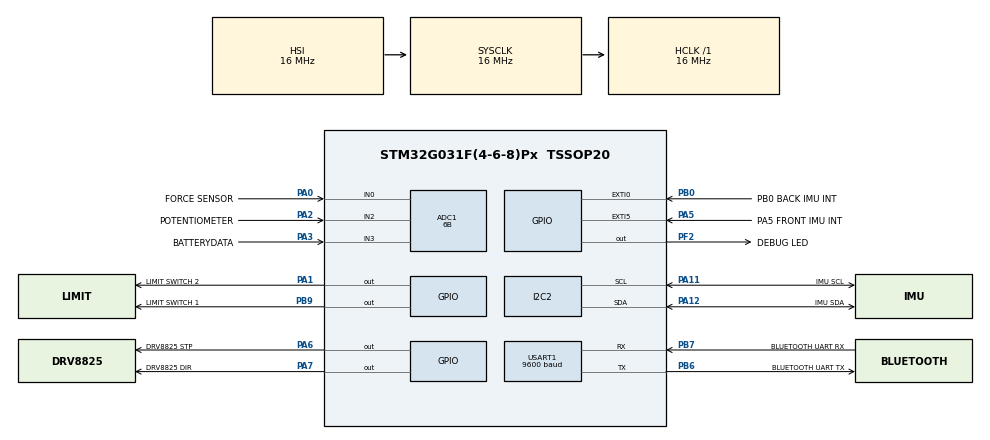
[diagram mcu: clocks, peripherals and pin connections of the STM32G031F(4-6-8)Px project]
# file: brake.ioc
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ADC1.Channel-0\#ChannelRegularConversion=ADC_CHANNEL_0
ADC1.Channel-1\#ChannelRegularConversion=ADC_CHANNEL_2
ADC1.Channel-2\#ChannelRegularConversion=ADC_CHANNEL_3
ADC1.ContinuousConvMode=DISABLE
ADC1.DMAContinuousRequests=DISABLE
ADC1.DiscontinuousConvMode=ENABLE
ADC1.ExternalTrigConv=ADC_SOFTWARE_START
ADC1.NbrOfConversion=3
ADC1.NbrOfConversionFlag=1
ADC1.Rank-0\#ChannelRegularConversion=1
ADC1.Rank-1\#ChannelRegularConversion=2
ADC1.Rank-2\#ChannelRegularConversion=3
ADC1.Resolution=ADC_RESOLUTION_6B
ADC1.SamplingTime-0\#ChannelRegularConversion=ADC_SAMPLINGTIME_COMMON_1
ADC1.SamplingTime-1\#ChannelRegularConversion=ADC_SAMPLINGTIME_COMMON_1
ADC1.SamplingTime-2\#ChannelRegularConversion=ADC_SAMPLINGTIME_COMMON_1
ADC1.SelectedChannel=ADC_CHANNEL_0|ADC_CHANNEL_2|ADC_CHANNEL_3
ADC1.master=1
Dma.ADC1.0.Direction=DMA_PERIPH_TO_MEMORY
Dma.ADC1.0.EventEnable=DISABLE
Dma.ADC1.0.Instance=DMA1_Channel1
Dma.ADC1.0.MemDataAlignment=DMA_MDATAALIGN_HALFWORD
Dma.ADC1.0.MemInc=DMA_MINC_ENABLE
Dma.ADC1.0.Mode=DMA_CIRCULAR
Dma.ADC1.0.PeriphDataAlignment=DMA_PDATAALIGN_HALFWORD
Dma.ADC1.0.PeriphInc=DMA_PINC_DISABLE
Dma.ADC1.0.Polarity=HAL_DMAMUX_REQ_GEN_RISING
Dma.ADC1.0.Priority=DMA_PRIORITY_LOW
Dma.ADC1.0.RequestNumber=1
Dma.ADC1.0.SignalID=NONE
Dma.ADC1.0.SyncEnable=DISABLE
Dma.ADC1.0.SyncPolarity=HAL_DMAMUX_SYNC_NO_EVENT
Dma.ADC1.0.SyncRequestNumber=1
Dma.ADC1.0.SyncSignalID=NONE
Dma.Request0=ADC1
Dma.Request1=USART1_RX
Dma.USART1_RX.1.Direction=DMA_PERIPH_TO_MEMORY
Dma.USART1_RX.1.EventEnable=DISABLE
Dma.USART1_RX.1.Instance=DMA1_Channel2
Dma.USART1_RX.1.MemDataAlignment=DMA_MDATAALIGN_BYTE
Dma.USART1_RX.1.MemInc=DMA_MINC_ENABLE
Dma.USART1_RX.1.Mode=DMA_CIRCULAR
Dma.USART1_RX.1.PeriphDataAlignment=DMA_PDATAALIGN_BYTE
Dma.USART1_RX.1.PeriphInc=DMA_PINC_DISABLE
Dma.USART1_RX.1.Polarity=HAL_DMAMUX_REQ_GEN_RISING
Dma.USART1_RX.1.Priority=DMA_PRIORITY_LOW
Dma.USART1_RX.1.RequestNumber=1
Dma.USART1_RX.1.SignalID=NONE
Dma.USART1_RX.1.SyncEnable=DISABLE
Dma.USART1_RX.1.SyncPolarity=HAL_DMAMUX_SYNC_NO_EVENT
Dma.USART1_RX.1.SyncRequestNumber=1
Dma.USART1_RX.1.SyncSignalID=NONE
Mcu.Family=STM32G0
Mcu.Name=STM32G031F(4-6-8)Px
Mcu.Package=TSSOP20
Mcu.UserConstants=SLOW_PERIOD,2000;FAST_PERIOD,50;IMU_PERIOD,50000
NVIC.DMA1_Channel1_IRQn=true\:0\:0\:false\:false\:true\:false\:true\:true
NVIC.DMA1_Channel2_3_IRQn=true\:0\:0\:false\:false\:true\:false\:true\:true
NVIC.EXTI0_1_IRQn=true\:0\:0\:false\:false\:true\:true\:true\:true
NVIC.EXTI4_15_IRQn=true\:0\:0\:false\:false\:true\:true\:true\:true
NVIC.TIM14_IRQn=true\:0\:0\:false\:false\:true\:true\:true\:true
NVIC.TIM16_IRQn=true\:0\:0\:false\:false\:true\:true\:true\:true
NVIC.TIM17_IRQn=true\:0\:0\:false\:false\:true\:true\:true\:true
PA0.GPIO_Label=FORCE SENSOR
PA0.Mode=IN0
PA0.Signal=ADC1_IN0
PA1.GPIO_Label=LIMIT SWITCH 2
PA1.GPIO_PuPd=GPIO_PULLDOWN
PA1.Signal=GPIO_Output
PA11\ [PA9].GPIO_Label=IMU SCL
PA11\ [PA9].Mode=I2C
PA11\ [PA9].Signal=I2C2_SCL
PA12\ [PA10].GPIO_Label=IMU SDA
PA12\ [PA10].Mode=I2C
PA12\ [PA10].Signal=I2C2_SDA
PA13.Mode=Serial_Wire
PA13.Signal=SYS_SWDIO
PA14-BOOT0.Mode=Serial_Wire
PA14-BOOT0.Signal=SYS_SWCLK
PA14-BOOT0__PA15.StandardMode=true
PA2.GPIO_Label=POTENTIOMETER
PA2.Mode=IN2
PA2.Signal=ADC1_IN2
PA3.GPIO_Label=BATTERYDATA
PA3.Mode=IN3
PA3.Signal=ADC1_IN3
PA5.GPIO_Label=PA5 FRONT IMU INT
PA5.Signal=GPXTI5
PA6.GPIO_Label=DRV8825 STP
PA6.Signal=GPIO_Output
PA7.GPIO_Label=DRV8825 DIR
PA7.Signal=GPIO_Output
PB0.GPIO_Label=PB0 BACK IMU INT
PB0.Signal=GPXTI0
PB0__PB1__PB2__PA8.StandardMode=true
PB3__PB4__PB5__PB6.StandardMode=true
PB6.GPIO_Label=BLUETOOTH UART TX
PB6.Mode=Asynchronous
PB6.Signal=USART1_TX
PB7.GPIO_Label=BLUETOOTH UART RX
PB7.Mode=Asynchronous
PB7.Signal=USART1_RX
PB7__PB8.StandardMode=true
PB9.GPIO_Label=LIMIT SWITCH 1
PB9.GPIO_PuPd=GPIO_PULLDOWN
PB9.Signal=GPIO_Output
PC14-OSC32_IN\ (PC14)__PB9.StandardMode=true
PF2\ -\ NRST.GPIO_Label=DEBUG LED
PF2\ -\ NRST.Signal=GPIO_Output
ProjectManager.HeapSize=0x200
ProjectManager.StackSize=0x400
ProjectManager.TargetToolchain=STM32CubeIDE
RCC.AHBFreq_Value=16000000
RCC.CortexFreq_Value=16000000
RCC.EXTERNAL_CLOCK_VALUE=12288000
RCC.HCLKFreq_Value=16000000
RCC.HSE_VALUE=8000000
RCC.HSI_VALUE=16000000
RCC.LSE_VALUE=32768
RCC.SYSCLKFreq_VALUE=16000000
RCC.VCOOutputFreq_Value=128000000
TIM14.Period=SLOW_PERIOD
TIM14.Prescaler=15
TIM16.Period=FAST_PERIOD
TIM16.Prescaler=15
TIM17.Period=IMU_PERIOD
TIM17.Prescaler=127
USART1.BaudRate=9600
USART1.VirtualMode-Asynchronous=VM_ASYNC
VP_TIM14_VS_ClockSourceINT.Mode=Enable_Timer
VP_TIM16_VS_ClockSourceINT.Mode=Enable_Timer
VP_TIM17_VS_ClockSourceINT.Mode=Enable_Timer
board=custom

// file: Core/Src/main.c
/* USER CODE BEGIN Header */
/**
  ******************************************************************************
  * @file           : main.c
  * @brief          : Main program body
  ******************************************************************************
  * @attention
  *
  * Copyright (c) 2022 STMicroelectronics.
  * All rights reserved.
  *
  * This software is licensed under terms that can be found in the LICENSE file
  * in the root directory of this software component.
  * If no LICENSE file comes with this software, it is provided AS-IS.
  *
  ******************************************************************************
  */
/* USER CODE END Header */
#include "main.h"

/* USER CODE BEGIN Includes */

#include "adc_sensor.h"
#include "brake_wireless.h"
#include "battery_sensor.h"
#include "force_sensor.h"
#include "i2c_mux.h"
#include "imu.h"
#include "interrupt_timer.h"
#include "joint.h"
#include "motor.h"
#include "skater.h"
#include "speed_sensor.h"
#include "thermistor.h"
#include <stdbool.h>
#include <string.h>

/* USER CODE END Includes */

/* USER CODE BEGIN PD */

#define USE_FORCE_SENSOR true
#define USE_WIRELESS_COMMS_WATCHDOG true
#define USE_LIMIT_SWITCH true
#define USE_IMU true

/* USER CODE END PD */

ADC_HandleTypeDef hadc1;
DMA_HandleTypeDef hdma_adc1;

I2C_HandleTypeDef hi2c2;

TIM_HandleTypeDef htim14;
TIM_HandleTypeDef htim16;
TIM_HandleTypeDef htim17;

UART_HandleTypeDef huart1;
DMA_HandleTypeDef hdma_usart1_rx;

/* USER CODE BEGIN PV */

ADCSensor *adc_sensor = NULL;
BatterySensor *battery_sensor = NULL;
I2CMux *i2c_mux = NULL;
IMU *front_imu = NULL;
IMU *back_imu = NULL;
Motor *motor = NULL;
Joint *joint = NULL;
ForceSensor *force_sensor = NULL;
Skater *skater = NULL;
SpeedSensor *speed_sensor = NULL;
Thermistor* thermistor = NULL;
Wireless *wireless = NULL;
PinData* motor_direction_pin = NULL;
PinData* motor_step_pin = NULL;
PinData* rest_limit_switch_pin = NULL;
PinData* brake_limit_switch_pin = NULL;
PinData* debug_led = NULL;
//PinData* debug_pin_0 = NULL;
//PinData* debug_pin_1 = NULL;
InterruptTimer* slow_interrupt_timer = NULL;
InterruptTimer* fast_interrupt_timer = NULL;
InterruptTimer* imu_interrupt_timer = NULL;
bool send_message_flag = false;

/* USER CODE END PV */

void SystemClock_Config(void);
static void MX_GPIO_Init(void);
static void MX_DMA_Init(void);
static void MX_I2C2_Init(void);
static void MX_USART1_UART_Init(void);
static void MX_ADC1_Init(void);
static void MX_TIM14_Init(void);
static void MX_TIM16_Init(void);
static void MX_TIM17_Init(void);

/* USER CODE BEGIN 0 */

void HAL_UART_RxCpltCallback(UART_HandleTypeDef *huart) {
	receive_wireless(wireless, skater, joint);
}

void HAL_GPIO_EXTI_Rising_Callback(uint16_t GPIO_Pin)
{
    if(GPIO_Pin == PA5_FRONT_IMU_INT_Pin)
    {
    	trigger_speed_sensor_interrupt(speed_sensor, true);
    }
    else if (GPIO_Pin == PB0_BACK_IMU_INT_Pin) {
    	trigger_speed_sensor_interrupt(speed_sensor, false);
    }
}

void HAL_TIM_PeriodElapsedCallback(TIM_HandleTypeDef *htim) {
	if (htim == fast_interrupt_timer->timer) {
		move_joint_to_target(joint);

	}
	else if (htim == slow_interrupt_timer->timer) {

		// 2 ms
		update_adc_sensor_values(adc_sensor);
		if (USE_FORCE_SENSOR) {
			refresh_skater_status(skater);
		}

		if (USE_LIMIT_SWITCH) {
			bool motor_thinks_is_at_rest_max = joint->current_angle_steps == MAX_REST_STEPS;
			if (motor_thinks_is_at_rest_max && !joint->is_rest_limit_switch_activated) {
				// Increase its current angle by an arbitrary number in order to make it head in the direction of the desired.
				joint->current_angle_steps += ARBITRARY_ADD_ANGLE_FOR_LIMIT_SWITCH_STEPS;
			}
			else {
				bool motor_thinks_is_at_brake_max = joint->current_angle_steps == MAX_BRAKING_STEPS;
				if (motor_thinks_is_at_brake_max && !joint->is_brake_limit_switch_activated) {
					// Increase its current angle by an arbitrary number in order to make it head in the direction of the desired.
					joint->current_angle_steps -= ARBITRARY_ADD_ANGLE_FOR_LIMIT_SWITCH_STEPS;
				}
			}
		}
		if (USE_LIMIT_SWITCH) {
			refresh_joint_limit_switch(joint);
		}

		if (has_skater_recently_left_board(skater)) {
			bool board_is_on_the_floor = true;
			if (board_is_on_the_floor) {
				set_joint_target(joint, MAX_BRAKING_STEPS);
			}
		}
		else if (USE_WIRELESS_COMMS_WATCHDOG && is_wireless_comms_lost(wireless)) {
			set_joint_target(joint, RIGHT_BEFORE_BRAKING_STEPS);
		}
		refresh_speed_sensor_logic(speed_sensor);
//		}

		refresh_wireless_status(wireless);
	}
}

/* USER CODE END 0 */

int main(void)
{
  /* USER CODE BEGIN 1 */

	adc_sensor = new_adc_sensor(&hadc1, 3);
	i2c_mux = new_i2c_mux(&hi2c2);
	front_imu = new_imu(&hi2c2, i2c_mux, 0);
	back_imu = new_imu(&hi2c2, i2c_mux, 1);
	motor_direction_pin = new_pin_data(DRV8825_DIR_GPIO_Port, DRV8825_DIR_Pin, PIN_IS_OUTPUT);
	motor_step_pin = new_pin_data(DRV8825_STP_GPIO_Port, DRV8825_STP_Pin, PIN_IS_OUTPUT);
	rest_limit_switch_pin = new_pin_data(LIMIT_SWITCH_2_GPIO_Port, LIMIT_SWITCH_2_Pin, PIN_IS_INPUT);
	brake_limit_switch_pin = new_pin_data(LIMIT_SWITCH_1_GPIO_Port, LIMIT_SWITCH_1_Pin, PIN_IS_INPUT);
	debug_led = new_pin_data(DEBUG_LED_GPIO_Port, DEBUG_LED_Pin, PIN_IS_OUTPUT);
	motor = new_motor(motor_direction_pin, motor_step_pin);
	slow_interrupt_timer = new_interrupt_timer(&htim14);
	fast_interrupt_timer = new_interrupt_timer(&htim16);
	imu_interrupt_timer = new_interrupt_timer(&htim17);
	joint = new_joint(motor, rest_limit_switch_pin, brake_limit_switch_pin);
	force_sensor = new_force_sensor(adc_sensor, 0);
	thermistor = new_thermistor(adc_sensor, 1);
	battery_sensor = new_battery_sensor(adc_sensor, 2);
	skater = new_skater(force_sensor, thermistor);
	wireless = new_wireless(&huart1);
	speed_sensor = new_speed_sensor(front_imu, back_imu);

  /* USER CODE END 1 */

  /* MCU Configuration--------------------------------------------------------*/

  /* Reset of all peripherals, Initializes the Flash interface and the Systick. */
  HAL_Init();

  /* Configure the system clock */
  SystemClock_Config();

  /* Initialize all configured peripherals */
  MX_GPIO_Init();
  MX_DMA_Init();
  MX_I2C2_Init();
  MX_USART1_UART_Init();
  MX_ADC1_Init();
  MX_TIM14_Init();
  MX_TIM16_Init();
  MX_TIM17_Init();
  /* USER CODE BEGIN 2 */
  if (USE_IMU) {
	  init_imu(front_imu);
	  init_imu(back_imu);
  }

  start_interrupt_timer(fast_interrupt_timer);
  start_interrupt_timer(slow_interrupt_timer);

  receive_wireless(wireless, skater, joint);

  /* USER CODE END 2 */

  /* Infinite loop */
  while (1)
  {

    /* USER CODE BEGIN 3 */

	  HAL_Delay(250);
	  if (is_joint_close_enough_to_target(joint)) {
		  uint8_t current_speed = get_speed_sensor_data(speed_sensor);
		  send_wireless_speed(wireless, current_speed);

		  uint8_t battery_data = get_battery_sensor_data(battery_sensor);
		  send_wireless_battery_data(wireless, battery_data);

		  uint8_t is_skater_detected = !is_skater_gone(skater);
		  send_wireless_detect_skater_status(wireless, is_skater_detected);
	  }
  }
  /* USER CODE END 3 */
}

void SystemClock_Config(void)
{
  RCC_OscInitTypeDef RCC_OscInitStruct = {0};
  RCC_ClkInitTypeDef RCC_ClkInitStruct = {0};

  /** Configure the main internal regulator output voltage
  */
  HAL_PWREx_ControlVoltageScaling(PWR_REGULATOR_VOLTAGE_SCALE1);

  /** Initializes the RCC Oscillators according to the specified parameters
  * in the RCC_OscInitTypeDef structure.
  */
  RCC_OscInitStruct.OscillatorType = RCC_OSCILLATORTYPE_HSI;
  RCC_OscInitStruct.HSIState = RCC_HSI_ON;
  RCC_OscInitStruct.HSIDiv = RCC_HSI_DIV1;
  RCC_OscInitStruct.HSICalibrationValue = RCC_HSICALIBRATION_DEFAULT;
  RCC_OscInitStruct.PLL.PLLState = RCC_PLL_NONE;
  if (HAL_RCC_OscConfig(&RCC_OscInitStruct) != HAL_OK)
  {
    Error_Handler();
  }

  /** Initializes the CPU, AHB and APB buses clocks
  */
  RCC_ClkInitStruct.ClockType = RCC_CLOCKTYPE_HCLK|RCC_CLOCKTYPE_SYSCLK
                              |RCC_CLOCKTYPE_PCLK1;
  RCC_ClkInitStruct.SYSCLKSource = RCC_SYSCLKSOURCE_HSI;
  RCC_ClkInitStruct.AHBCLKDivider = RCC_SYSCLK_DIV1;
  RCC_ClkInitStruct.APB1CLKDivider = RCC_HCLK_DIV1;

  if (HAL_RCC_ClockConfig(&RCC_ClkInitStruct, FLASH_LATENCY_0) != HAL_OK)
  {
    Error_Handler();
  }
}

static void MX_ADC1_Init(void)
{

  ADC_ChannelConfTypeDef sConfig = {0};

  /** Configure the global features of the ADC (Clock, Resolution, Data Alignment and number of conversion)
  */
  hadc1.Instance = ADC1;
  hadc1.Init.ClockPrescaler = ADC_CLOCK_SYNC_PCLK_DIV2;
  hadc1.Init.Resolution = ADC_RESOLUTION_6B;
  hadc1.Init.DataAlign = ADC_DATAALIGN_RIGHT;
  hadc1.Init.ScanConvMode = ADC_SCAN_ENABLE;
  hadc1.Init.EOCSelection = ADC_EOC_SINGLE_CONV;
  hadc1.Init.LowPowerAutoWait = DISABLE;
  hadc1.Init.LowPowerAutoPowerOff = DISABLE;
  hadc1.Init.ContinuousConvMode = DISABLE;
  hadc1.Init.NbrOfConversion = 3;
  hadc1.Init.DiscontinuousConvMode = ENABLE;
  hadc1.Init.ExternalTrigConv = ADC_SOFTWARE_START;
  hadc1.Init.ExternalTrigConvEdge = ADC_EXTERNALTRIGCONVEDGE_NONE;
  hadc1.Init.DMAContinuousRequests = DISABLE;
  hadc1.Init.Overrun = ADC_OVR_DATA_PRESERVED;
  hadc1.Init.SamplingTimeCommon1 = ADC_SAMPLETIME_1CYCLE_5;
  hadc1.Init.SamplingTimeCommon2 = ADC_SAMPLETIME_1CYCLE_5;
  hadc1.Init.OversamplingMode = DISABLE;
  hadc1.Init.TriggerFrequencyMode = ADC_TRIGGER_FREQ_HIGH;
  if (HAL_ADC_Init(&hadc1) != HAL_OK)
  {
    Error_Handler();
  }

  /** Configure Regular Channel
  */
  sConfig.Channel = ADC_CHANNEL_0;
  sConfig.Rank = ADC_REGULAR_RANK_1;
  sConfig.SamplingTime = ADC_SAMPLINGTIME_COMMON_1;
  if (HAL_ADC_ConfigChannel(&hadc1, &sConfig) != HAL_OK)
  {
    Error_Handler();
  }

  /** Configure Regular Channel
  */
  sConfig.Channel = ADC_CHANNEL_2;
  sConfig.Rank = ADC_REGULAR_RANK_2;
  if (HAL_ADC_ConfigChannel(&hadc1, &sConfig) != HAL_OK)
  {
    Error_Handler();
  }

  /** Configure Regular Channel
  */
  sConfig.Channel = ADC_CHANNEL_3;
  sConfig.Rank = ADC_REGULAR_RANK_3;
  if (HAL_ADC_ConfigChannel(&hadc1, &sConfig) != HAL_OK)
  {
    Error_Handler();
  }

}

static void MX_I2C2_Init(void)
{

  hi2c2.Instance = I2C2;
  hi2c2.Init.Timing = 0x00303D5B;
  hi2c2.Init.OwnAddress1 = 0;
  hi2c2.Init.AddressingMode = I2C_ADDRESSINGMODE_7BIT;
  hi2c2.Init.DualAddressMode = I2C_DUALADDRESS_DISABLE;
  hi2c2.Init.OwnAddress2 = 0;
  hi2c2.Init.OwnAddress2Masks = I2C_OA2_NOMASK;
  hi2c2.Init.GeneralCallMode = I2C_GENERALCALL_DISABLE;
  hi2c2.Init.NoStretchMode = I2C_NOSTRETCH_DISABLE;
  if (HAL_I2C_Init(&hi2c2) != HAL_OK)
  {
    Error_Handler();
  }

  /** Configure Analogue filter
  */
  if (HAL_I2CEx_ConfigAnalogFilter(&hi2c2, I2C_ANALOGFILTER_ENABLE) != HAL_OK)
  {
    Error_Handler();
  }

  /** Configure Digital filter
  */
  if (HAL_I2CEx_ConfigDigitalFilter(&hi2c2, 0) != HAL_OK)
  {
    Error_Handler();
  }

}

static void MX_TIM14_Init(void)
{

  htim14.Instance = TIM14;
  htim14.Init.Prescaler = 15;
  htim14.Init.CounterMode = TIM_COUNTERMODE_UP;
  htim14.Init.Period = SLOW_PERIOD;
  htim14.Init.ClockDivision = TIM_CLOCKDIVISION_DIV1;
  htim14.Init.AutoReloadPreload = TIM_AUTORELOAD_PRELOAD_DISABLE;
  if (HAL_TIM_Base_Init(&htim14) != HAL_OK)
  {
    Error_Handler();
  }

}

static void MX_TIM16_Init(void)
{

  htim16.Instance = TIM16;
  htim16.Init.Prescaler = 15;
  htim16.Init.CounterMode = TIM_COUNTERMODE_UP;
  htim16.Init.Period = FAST_PERIOD;
  htim16.Init.ClockDivision = TIM_CLOCKDIVISION_DIV1;
  htim16.Init.RepetitionCounter = 0;
  htim16.Init.AutoReloadPreload = TIM_AUTORELOAD_PRELOAD_DISABLE;
  if (HAL_TIM_Base_Init(&htim16) != HAL_OK)
  {
    Error_Handler();
  }

}

static void MX_TIM17_Init(void)
{

  htim17.Instance = TIM17;
  htim17.Init.Prescaler = 127;
  htim17.Init.CounterMode = TIM_COUNTERMODE_UP;
  htim17.Init.Period = IMU_PERIOD;
  htim17.Init.ClockDivision = TIM_CLOCKDIVISION_DIV1;
  htim17.Init.RepetitionCounter = 0;
  htim17.Init.AutoReloadPreload = TIM_AUTORELOAD_PRELOAD_DISABLE;
  if (HAL_TIM_Base_Init(&htim17) != HAL_OK)
  {
    Error_Handler();
  }

}

static void MX_USART1_UART_Init(void)
{

  huart1.Instance = USART1;
  huart1.Init.BaudRate = 9600;
  huart1.Init.WordLength = UART_WORDLENGTH_8B;
  huart1.Init.StopBits = UART_STOPBITS_1;
  huart1.Init.Parity = UART_PARITY_NONE;
  huart1.Init.Mode = UART_MODE_TX_RX;
  huart1.Init.HwFlowCtl = UART_HWCONTROL_NONE;
  huart1.Init.OverSampling = UART_OVERSAMPLING_16;
  huart1.Init.OneBitSampling = UART_ONE_BIT_SAMPLE_DISABLE;
  huart1.Init.ClockPrescaler = UART_PRESCALER_DIV1;
  huart1.AdvancedInit.AdvFeatureInit = UART_ADVFEATURE_NO_INIT;
  if (HAL_UART_Init(&huart1) != HAL_OK)
  {
    Error_Handler();
  }
  if (HAL_UARTEx_SetTxFifoThreshold(&huart1, UART_TXFIFO_THRESHOLD_1_8) != HAL_OK)
  {
    Error_Handler();
  }
  if (HAL_UARTEx_SetRxFifoThreshold(&huart1, UART_RXFIFO_THRESHOLD_1_8) != HAL_OK)
  {
    Error_Handler();
  }
  if (HAL_UARTEx_DisableFifoMode(&huart1) != HAL_OK)
  {
    Error_Handler();
  }

}

static void MX_DMA_Init(void)
{

  /* DMA controller clock enable */
  __HAL_RCC_DMA1_CLK_ENABLE();

  /* DMA interrupt init */
  /* DMA1_Channel1_IRQn interrupt configuration */
  HAL_NVIC_SetPriority(DMA1_Channel1_IRQn, 0, 0);
  HAL_NVIC_EnableIRQ(DMA1_Channel1_IRQn);
  /* DMA1_Channel2_3_IRQn interrupt configuration */
  HAL_NVIC_SetPriority(DMA1_Channel2_3_IRQn, 0, 0);
  HAL_NVIC_EnableIRQ(DMA1_Channel2_3_IRQn);

}

static void MX_GPIO_Init(void)
{
  GPIO_InitTypeDef GPIO_InitStruct = {0};

  /* GPIO Ports Clock Enable */
  __HAL_RCC_GPIOB_CLK_ENABLE();
  __HAL_RCC_GPIOF_CLK_ENABLE();
  __HAL_RCC_GPIOA_CLK_ENABLE();

  /*Configure GPIO pin Output Level */
  HAL_GPIO_WritePin(LIMIT_SWITCH_1_GPIO_Port, LIMIT_SWITCH_1_Pin, GPIO_PIN_RESET);

  /*Configure GPIO pin Output Level */
  HAL_GPIO_WritePin(DEBUG_LED_GPIO_Port, DEBUG_LED_Pin, GPIO_PIN_RESET);

  /*Configure GPIO pin Output Level */
  HAL_GPIO_WritePin(GPIOA, LIMIT_SWITCH_2_Pin|DRV8825_STP_Pin|DRV8825_DIR_Pin, GPIO_PIN_RESET);

  /*Configure GPIO pin : LIMIT_SWITCH_1_Pin */
  GPIO_InitStruct.Pin = LIMIT_SWITCH_1_Pin;
  GPIO_InitStruct.Mode = GPIO_MODE_OUTPUT_PP;
  GPIO_InitStruct.Pull = GPIO_PULLDOWN;
  GPIO_InitStruct.Speed = GPIO_SPEED_FREQ_LOW;
  HAL_GPIO_Init(LIMIT_SWITCH_1_GPIO_Port, &GPIO_InitStruct);

  /*Configure GPIO pin : DEBUG_LED_Pin */
  GPIO_InitStruct.Pin = DEBUG_LED_Pin;
  GPIO_InitStruct.Mode = GPIO_MODE_OUTPUT_PP;
  GPIO_InitStruct.Pull = GPIO_NOPULL;
  GPIO_InitStruct.Speed = GPIO_SPEED_FREQ_LOW;
  HAL_GPIO_Init(DEBUG_LED_GPIO_Port, &GPIO_InitStruct);

  /*Configure GPIO pin : LIMIT_SWITCH_2_Pin */
  GPIO_InitStruct.Pin = LIMIT_SWITCH_2_Pin;
  GPIO_InitStruct.Mode = GPIO_MODE_OUTPUT_PP;
  GPIO_InitStruct.Pull = GPIO_PULLDOWN;
  GPIO_InitStruct.Speed = GPIO_SPEED_FREQ_LOW;
  HAL_GPIO_Init(LIMIT_SWITCH_2_GPIO_Port, &GPIO_InitStruct);

  /*Configure GPIO pin : PA5_FRONT_IMU_INT_Pin */
  GPIO_InitStruct.Pin = PA5_FRONT_IMU_INT_Pin;
  GPIO_InitStruct.Mode = GPIO_MODE_IT_RISING;
  GPIO_InitStruct.Pull = GPIO_NOPULL;
  HAL_GPIO_Init(PA5_FRONT_IMU_INT_GPIO_Port, &GPIO_InitStruct);

  /*Configure GPIO pins : DRV8825_STP_Pin DRV8825_DIR_Pin */
  GPIO_InitStruct.Pin = DRV8825_STP_Pin|DRV8825_DIR_Pin;
  GPIO_InitStruct.Mode = GPIO_MODE_OUTPUT_PP;
  GPIO_InitStruct.Pull = GPIO_NOPULL;
  GPIO_InitStruct.Speed = GPIO_SPEED_FREQ_LOW;
  HAL_GPIO_Init(GPIOA, &GPIO_InitStruct);

  /*Configure GPIO pin : PB0_BACK_IMU_INT_Pin */
  GPIO_InitStruct.Pin = PB0_BACK_IMU_INT_Pin;
  GPIO_InitStruct.Mode = GPIO_MODE_IT_RISING;
  GPIO_InitStruct.Pull = GPIO_NOPULL;
  HAL_GPIO_Init(PB0_BACK_IMU_INT_GPIO_Port, &GPIO_InitStruct);

  /* EXTI interrupt init*/
  HAL_NVIC_SetPriority(EXTI0_1_IRQn, 0, 0);
  HAL_NVIC_EnableIRQ(EXTI0_1_IRQn);

  HAL_NVIC_SetPriority(EXTI4_15_IRQn, 0, 0);
  HAL_NVIC_EnableIRQ(EXTI4_15_IRQn);

}

void Error_Handler(void)
{
  __disable_irq();
  while (1)
  {
  }
}
